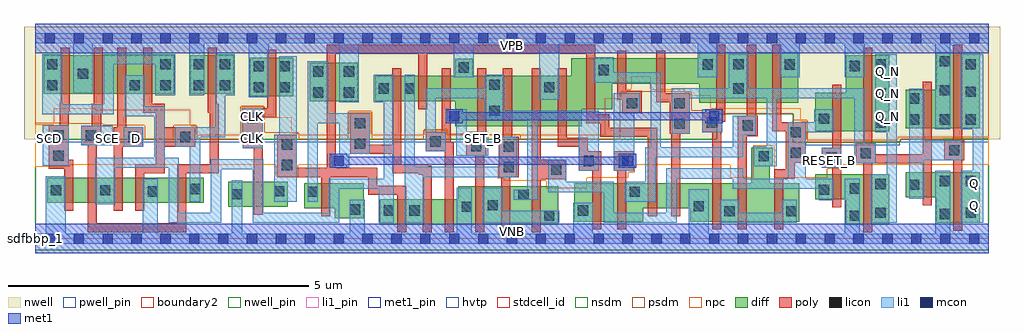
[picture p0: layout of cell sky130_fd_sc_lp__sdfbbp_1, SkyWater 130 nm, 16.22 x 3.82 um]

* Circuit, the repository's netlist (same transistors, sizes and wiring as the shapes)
* Copyright 2020 The SkyWater PDK Authors
*
* Licensed under the Apache License, Version 2.0 (the "License");
* you may not use this file except in compliance with the License.
* You may obtain a copy of the License at
*
*     https://www.apache.org/licenses/LICENSE-2.0
*
* Unless required by applicable law or agreed to in writing, software
* distributed under the License is distributed on an "AS IS" BASIS,
* WITHOUT WARRANTIES OR CONDITIONS OF ANY KIND, either express or implied.
* See the License for the specific language governing permissions and
* limitations under the License.
*
* SPDX-License-Identifier: Apache-2.0

.SUBCKT sky130_fd_sc_lp__sdfbbp_1 CLK D RESET_B SCD SCE SET_B VGND VNB VPB VPWR Q Q_N
*.PININFO CLK:I D:I RESET_B:I SCD:I SCE:I SET_B:I VGND:I VNB:I VPB:I
*.PININFO VPWR:I Q:O Q_N:O
MI98 net105 D n0 VNB sky130_fd_pr__nfet_01v8 m=1 w=0.42U l=0.15U mult=1 sa=0.265
+ sb=0.265 sd=0.28 area=0.525 perim=3.1
MI103 n1 SCD VGND VNB sky130_fd_pr__nfet_01v8 m=1 w=0.42U l=0.15U mult=1 sa=0.265
+ sb=0.265 sd=0.28 area=0.525 perim=3.1
MI104 n0 sceb VGND VNB sky130_fd_pr__nfet_01v8 m=1 w=0.42U l=0.15U mult=1 sa=0.265
+ sb=0.265 sd=0.28 area=0.525 perim=3.1
MI120 net105 SCE n1 VNB sky130_fd_pr__nfet_01v8 m=1 w=0.42U l=0.15U mult=1 sa=0.265
+ sb=0.265 sd=0.28 area=0.525 perim=3.1
MI46 clkpos clkneg VGND VNB sky130_fd_pr__nfet_01v8 m=1 w=0.42U l=0.15U mult=1
+ sa=0.265 sb=0.265 sd=0.28 area=0.063 perim=1.14
MI642 RESET RESET_B VGND VNB sky130_fd_pr__nfet_01v8 m=1 w=0.42U l=0.15U mult=1
+ sa=0.265 sb=0.265 sd=0.28 area=0.063 perim=1.14
MI676 M1 M0 net176 VNB sky130_fd_pr__nfet_01v8 m=1 w=0.64U l=0.15U mult=1 sa=0.265
+ sb=0.265 sd=0.28 area=0.063 perim=1.14
MI675 net176 SET_B VGND VNB sky130_fd_pr__nfet_01v8 m=1 w=0.64U l=0.15U mult=1
+ sa=0.265 sb=0.265 sd=0.28 area=0.063 perim=1.14
MI653 Q net213 VGND VNB sky130_fd_pr__nfet_01v8 m=1 w=0.84U l=0.15U mult=1 sa=0.265
+ sb=0.265 sd=0.28 area=0.063 perim=1.14
MI677 M1 RESET net176 VNB sky130_fd_pr__nfet_01v8 m=1 w=0.64U l=0.15U mult=1 sa=0.265
+ sb=0.265 sd=0.28 area=0.063 perim=1.14
MI648 M0 clkpos net160 VNB sky130_fd_pr__nfet_01v8 m=1 w=0.42U l=0.15U mult=1 sa=0.265
+ sb=0.265 sd=0.28 area=0.063 perim=1.14
MI44 clkneg CLK VGND VNB sky130_fd_pr__nfet_01v8 m=1 w=0.42U l=0.15U mult=1 sa=0.265
+ sb=0.265 sd=0.28 area=0.063 perim=1.14
MI649 net160 M1 VGND VNB sky130_fd_pr__nfet_01v8 m=1 w=0.42U l=0.15U mult=1 sa=0.265
+ sb=0.265 sd=0.28 area=0.063 perim=1.14
MI655 S0 clkneg net145 VNB sky130_fd_pr__nfet_01v8 m=1 w=0.42U l=0.15U mult=1 sa=0.265
+ sb=0.265 sd=0.28 area=0.063 perim=1.14
MI654 net145 net117 VGND VNB sky130_fd_pr__nfet_01v8 m=1 w=0.42U l=0.15U mult=1
+ sa=0.265 sb=0.265 sd=0.28 area=0.063 perim=1.14
MI651 Q_N net117 VGND VNB sky130_fd_pr__nfet_01v8 m=1 w=0.84U l=0.15U mult=1 sa=0.265
+ sb=0.265 sd=0.28 area=0.063 perim=1.14
MI652 net213 net117 VGND VNB sky130_fd_pr__nfet_01v8 m=1 w=0.42U l=0.15U mult=1
+ sa=0.265 sb=0.265 sd=0.28 area=0.063 perim=1.14
MI42 net105 clkneg M0 VNB sky130_fd_pr__nfet_01v8 m=1 w=0.42U l=0.15U mult=1 sa=0.265
+ sb=0.265 sd=0.28 area=0.063 perim=1.14
MI668 S0 clkpos net128 VNB sky130_fd_pr__nfet_01v8 m=1 w=0.64U l=0.15U mult=1 sa=0.265
+ sb=0.265 sd=0.28 area=0.063 perim=1.14
MI667 net128 M1 VGND VNB sky130_fd_pr__nfet_01v8 m=1 w=0.64U l=0.15U mult=1 sa=0.265
+ sb=0.265 sd=0.28 area=0.063 perim=1.14
MI630 net117 RESET net116 VNB sky130_fd_pr__nfet_01v8 m=1 w=0.64U l=0.15U mult=1
+ sa=0.265 sb=0.265 sd=0.28 area=0.063 perim=1.14
MI3 net117 S0 net116 VNB sky130_fd_pr__nfet_01v8 m=1 w=0.64U l=0.15U mult=1 sa=0.265
+ sb=0.265 sd=0.28 area=0.063 perim=1.14
MI7 net116 SET_B VGND VNB sky130_fd_pr__nfet_01v8 m=1 w=0.64U l=0.15U mult=1 sa=0.265
+ sb=0.265 sd=0.28 area=0.063 perim=1.14
MI639 sceb SCE VGND VNB sky130_fd_pr__nfet_01v8 m=1 w=0.42U l=0.15U mult=1 sa=0.265
+ sb=0.265 sd=0.28 area=0.063 perim=1.14
MI107 p0 SCE VPWR VPB sky130_fd_pr__pfet_01v8_hvt m=1 w=0.64U l=0.15U mult=1 sa=0.265
+ sb=0.265 sd=0.28 area=0.063 perim=1.14
MI94 net105 D p0 VPB sky130_fd_pr__pfet_01v8_hvt m=1 w=0.64U l=0.15U mult=1 sa=0.265
+ sb=0.265 sd=0.28 area=0.063 perim=1.14
MI101 net105 sceb p1 VPB sky130_fd_pr__pfet_01v8_hvt m=1 w=0.64U l=0.15U mult=1
+ sa=0.265 sb=0.265 sd=0.28 area=0.063 perim=1.14
MI108 p1 SCD VPWR VPB sky130_fd_pr__pfet_01v8_hvt m=1 w=0.64U l=0.15U mult=1 sa=0.265
+ sb=0.265 sd=0.28 area=0.063 perim=1.14
MI679 M1 SET_B VPWR VPB sky130_fd_pr__pfet_01v8_hvt m=1 w=0.84U l=0.15U mult=1
+ sa=0.265 sb=0.265 sd=0.28 area=0.063 perim=1.14
MI669 S0 clkneg net265 VPB sky130_fd_pr__pfet_01v8_hvt m=1 w=0.84U l=0.15U mult=1
+ sa=0.265 sb=0.265 sd=0.28 area=0.063 perim=1.14
MI660 Q net213 VPWR VPB sky130_fd_pr__pfet_01v8_hvt m=1 w=1.26U l=0.15U mult=1
+ sa=0.265 sb=0.265 sd=0.28 area=0.063 perim=1.14
MI9 net117 S0 net268 VPB sky130_fd_pr__pfet_01v8_hvt m=1 w=0.84U l=0.15U mult=1
+ sa=0.265 sb=0.265 sd=0.28 area=0.063 perim=1.14
MI670 net265 M1 VPWR VPB sky130_fd_pr__pfet_01v8_hvt m=1 w=0.84U l=0.15U mult=1
+ sa=0.265 sb=0.265 sd=0.28 area=0.063 perim=1.14
MI678 net216 RESET VPWR VPB sky130_fd_pr__pfet_01v8_hvt m=1 w=0.84U l=0.15U mult=1
+ sa=0.265 sb=0.265 sd=0.28 area=0.063 perim=1.14
MI662 net257 net117 VPWR VPB sky130_fd_pr__pfet_01v8_hvt m=1 w=0.42U l=0.15U mult=1
+ sa=0.265 sb=0.265 sd=0.28 area=0.063 perim=1.14
MI664 S0 clkpos net257 VPB sky130_fd_pr__pfet_01v8_hvt m=1 w=0.42U l=0.15U mult=1
+ sa=0.265 sb=0.265 sd=0.28 area=0.063 perim=1.14
MI10 net117 SET_B VPWR VPB sky130_fd_pr__pfet_01v8_hvt m=1 w=0.84U l=0.15U mult=1
+ sa=0.265 sb=0.265 sd=0.28 area=0.063 perim=1.14
MI11 net268 RESET VPWR VPB sky130_fd_pr__pfet_01v8_hvt m=1 w=0.84U l=0.15U mult=1
+ sa=0.265 sb=0.265 sd=0.28 area=0.063 perim=1.14
MI650 net241 M1 VPWR VPB sky130_fd_pr__pfet_01v8_hvt m=1 w=0.42U l=0.15U mult=1
+ sa=0.265 sb=0.265 sd=0.28 area=0.063 perim=1.14
MI43 net105 clkpos M0 VPB sky130_fd_pr__pfet_01v8_hvt m=1 w=0.42U l=0.15U mult=1
+ sa=0.265 sb=0.265 sd=0.28 area=0.063 perim=1.14
MI656 M0 clkneg net241 VPB sky130_fd_pr__pfet_01v8_hvt m=1 w=0.42U l=0.15U mult=1
+ sa=0.265 sb=0.265 sd=0.28 area=0.063 perim=1.14
MI643 RESET RESET_B VPWR VPB sky130_fd_pr__pfet_01v8_hvt m=1 w=0.64U l=0.15U mult=1
+ sa=0.265 sb=0.265 sd=0.28 area=0.063 perim=1.14
MI47 clkpos clkneg VPWR VPB sky130_fd_pr__pfet_01v8_hvt m=1 w=0.64U l=0.15U mult=1
+ sa=0.265 sb=0.265 sd=0.28 area=0.063 perim=1.14
MI45 clkneg CLK VPWR VPB sky130_fd_pr__pfet_01v8_hvt m=1 w=0.64U l=0.15U mult=1
+ sa=0.265 sb=0.265 sd=0.28 area=0.063 perim=1.14
MI680 M1 M0 net216 VPB sky130_fd_pr__pfet_01v8_hvt m=1 w=0.84U l=0.15U mult=1 sa=0.265
+ sb=0.265 sd=0.28 area=0.063 perim=1.14
MI663 net213 net117 VPWR VPB sky130_fd_pr__pfet_01v8_hvt m=1 w=0.64U l=0.15U mult=1
+ sa=0.265 sb=0.265 sd=0.28 area=0.063 perim=1.14
MI661 Q_N net117 VPWR VPB sky130_fd_pr__pfet_01v8_hvt m=1 w=1.26U l=0.15U mult=1
+ sa=0.265 sb=0.265 sd=0.28 area=0.063 perim=1.14
MI640 sceb SCE VPWR VPB sky130_fd_pr__pfet_01v8_hvt m=1 w=0.64U l=0.15U mult=1
+ sa=0.265 sb=0.265 sd=0.28 area=0.063 perim=1.14
.ENDS sky130_fd_sc_lp__sdfbbp_1

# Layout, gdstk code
import gdstk
lib = gdstk.Library(unit=1e-6, precision=1e-09)
def R(c, l, rs):  # rectangles x0, y0, x1, y1
    for r in rs: c.add(gdstk.rectangle(r[:2], r[2:], *l))
def A(c, l, x, y, w, h, nx, ny, dx, dy):  # array of equal rectangles
    R(c, l, [(x+i*dx, y+j*dy, x+i*dx+w, y+j*dy+h) for i in range(nx) for j in range(ny)])
def P(c, l, *ps):  # polygons
    for p in ps: c.add(gdstk.Polygon(p, *l))
nwell_pin = (64, 16)
nwell = (64, 20)
diff = (65, 20)
poly = (66, 20)
licon = (66, 44)
li1_pin = (67, 16)
li1 = (67, 20)
mcon = (67, 44)
met1_pin = (68, 16)
met1 = (68, 20)
hvtp = (78, 44)
stdcell_id = (81, 4)
nsdm = (93, 44)
psdm = (94, 20)
npc = (95, 20)
pwell_pin = (122, 16)
boundary2 = (236, 0)

sky130_fd_sc_lp__sdfbbp_ = lib.new_cell('sky130_fd_sc_lp__sdfbbp_1')
R(sky130_fd_sc_lp__sdfbbp_, nwell_pin, [(0,3.085,15.84,3.33)])
P(sky130_fd_sc_lp__sdfbbp_, nwell, [(16.03,3.52),(-0.19,3.52),(-0.19,1.655),(11.32,1.655),(11.32,2.075),(12.59,2.075),(12.59,1.605),(14.37,1.605),(14.37,1.655),(16.03,1.655)])
R(sky130_fd_sc_lp__sdfbbp_, diff, [(3.205,0.53,4.195,0.95), (0.195,0.595,2.795,1.015), (4.555,2.285,5.355,2.925), (3.565,2.37,4.285,3.01), (0.135,2.405,2.305,3.045), (2.575,2.405,3.295,3.045)])
P(sky130_fd_sc_lp__sdfbbp_, diff, [(5.455,0.925),(4.465,0.925),(4.465,0.505),(4.975,0.505),(4.975,0.34),(5.455,0.34)],
  [(8.685,0.875),(7.025,0.875),(7.025,0.655),(5.725,0.655),(5.725,0.235),(8.685,0.235)],
  [(15.69,1.105),(14.46,1.105),(14.46,0.685),(14.97,0.685),(14.97,0.265),(15.69,0.265)],
  [(12.68,3.095),(11.03,3.095),(11.03,2.995),(8.905,2.995),(8.905,2.705),(7.265,2.705),(7.265,2.99),(6.975,2.99),(6.975,2.705),(5.645,2.705),(5.645,2.285),(6.975,2.285),(6.975,1.865),(9.08,1.865),(9.08,2.155),(9.59,2.155),(9.59,2.575),(11.03,2.575),(11.03,2.255),(12.68,2.255)],
  [(12.69,0.925),(12.2,0.925),(12.2,1.225),(12.25,1.225),(12.25,1.515),(11.9,1.515),(11.9,0.925),(8.955,0.925),(8.955,0.285),(10.105,0.285),(10.105,0.505),(10.88,0.505),(10.88,0.285),(12.69,0.285)],
  [(14.19,3.045),(13.47,3.045),(13.47,2.425),(12.96,2.425),(12.96,1.785),(14.19,1.785)],
  [(14.19,1.075),(12.96,1.075),(12.96,0.655),(13.47,0.655),(13.47,0.235),(14.19,0.235)],
  [(15.69,3.095),(14.97,3.095),(14.97,2.475),(14.46,2.475),(14.46,1.835),(15.69,1.835)])
P(sky130_fd_sc_lp__sdfbbp_, poly, [(0.63,1.31),(0.55,1.31),(0.55,2.12),(0.57,2.12),(0.57,3.175),(0.42,3.175),(0.42,2.27),(0.4,2.27),(0.4,1.885),(0.22,1.885),(0.22,1.16),(0.48,1.16),(0.48,0.465),(0.63,0.465)],
  [(1.79,1.855),(1.51,1.855),(1.51,3.175),(1.36,3.175),(1.36,1.855),(1.3,1.855),(1.3,0.465),(1.45,0.465),(1.45,1.525),(1.79,1.525)],
  [(2.655,1.855),(2.15,1.855),(2.15,2.245),(1.94,2.245),(1.94,3.175),(1.79,3.175),(1.79,2.095),(2,2.095),(2,1.24),(1.66,1.24),(1.66,0.465),(1.81,0.465),(1.81,1.09),(2.15,1.09),(2.15,1.525),(2.655,1.525)],
  [(3.045,2.245),(3.01,2.245),(3.01,3.175),(2.86,3.175),(2.86,2.095),(2.895,2.095),(2.895,1.24),(2.36,1.24),(2.36,0.255),(1.02,0.255),(1.02,1.55),(1.09,1.55),(1.09,2.095),(1.12,2.095),(1.12,3.175),(0.97,3.175),(0.97,2.245),(0.94,2.245),(0.94,1.88),(0.76,1.88),(0.76,1.55),(0.87,1.55),(0.87,0.105),(2.51,0.105),(2.51,1.09),(3.045,1.09)],
  [(4,3.14),(3.85,3.14),(3.85,2.17),(3.445,2.17),(3.445,1.5),(3.625,1.5),(3.625,0.4),(3.775,0.4),(3.775,2.02),(4,2.02)],
  [(6.59,1.21),(6.52,1.21),(6.52,1.24),(6.08,1.24),(6.08,2.835),(5.93,2.835),(5.93,1.565),(5.56,1.565),(5.56,2.085),(5.23,2.085),(5.23,1.415),(5.93,1.415),(5.93,1.09),(6.37,1.09),(6.37,1.06),(6.44,1.06),(6.44,0.105),(6.59,0.105)],
  [(6.95,1.6),(6.9,1.6),(6.9,2.835),(6.75,2.835),(6.75,1.78),(6.485,1.78),(6.485,1.45),(6.8,1.45),(6.8,0.105),(6.95,0.105)],
  [(7.49,2.835),(7.34,2.835),(7.34,1.705),(7.16,1.705),(7.16,1.375),(7.31,1.375),(7.31,0.105),(7.46,0.105),(7.46,1.375),(7.49,1.375)],
  [(8.03,1.695),(7.92,1.695),(7.92,2.835),(7.77,2.835),(7.77,1.695),(7.7,1.695),(7.7,1.025),(7.74,1.025),(7.74,0.105),(7.89,0.105),(7.89,1.025),(8.03,1.025)],
  [(8.82,1.315),(8.4,1.315),(8.4,2.835),(8.25,2.835),(8.25,0.105),(8.4,0.105),(8.4,0.985),(8.82,0.985)],
  [(9.4,1.455),(9.18,1.455),(9.18,1.675),(8.83,1.675),(8.83,2.835),(8.68,2.835),(8.68,1.525),(9.03,1.525),(9.03,1.125),(9.25,1.125),(9.25,0.155),(9.4,0.155)],
  [(9.94,1.455),(9.61,1.455),(9.61,1.125),(9.67,1.125),(9.67,0.155),(9.82,0.155),(9.82,1.125),(9.94,1.125)],
  [(10.08,2.455),(9.815,2.455),(9.815,3.125),(9.665,3.125),(9.665,2.305),(9.75,2.305),(9.75,2.085),(10.08,2.085)],
  [(10.33,1.845),(9.54,1.845),(9.54,2.065),(9.305,2.065),(9.305,3.225),(4.84,3.225),(4.84,1.175),(4.345,1.175),(4.345,1.73),(4.015,1.73),(4.015,1.025),(4.75,1.025),(4.75,0.375),(4.9,0.375),(4.9,1.025),(5.53,1.025),(5.53,0.73),(6.01,0.73),(6.01,0.105),(6.16,0.105),(6.16,0.88),(5.68,0.88),(5.68,1.175),(4.99,1.175),(4.99,3.075),(6.36,3.075),(6.36,2.155),(6.51,2.155),(6.51,3.075),(9.155,3.075),(9.155,1.915),(9.39,1.915),(9.39,1.695),(10.18,1.695),(10.18,0.375),(10.33,0.375)],
  [(10.87,2.415),(10.47,2.415),(10.47,3.125),(10.32,3.125),(10.32,2.265),(10.54,2.265),(10.54,1.745),(10.57,1.745),(10.57,0.375),(10.72,0.375),(10.72,1.745),(10.87,1.745)],
  [(11.465,3.225),(11.315,3.225),(11.315,2.095),(11.08,2.095),(11.08,1.765),(11.245,1.765),(11.245,0.155),(11.395,0.155),(11.395,1.765),(11.41,1.765),(11.41,1.945),(11.465,1.945)],
  [(12.005,2.045),(11.975,2.045),(11.975,3.225),(11.825,3.225),(11.825,2.045),(11.675,2.045),(11.675,0.155),(11.825,0.155),(11.825,1.705),(12.005,1.705)],
  [(12.8,1.935),(12.395,1.935),(12.395,3.225),(12.245,3.225),(12.245,1.785),(12.47,1.785),(12.47,1.15),(12.275,1.15),(12.275,0.155),(12.425,0.155),(12.425,1),(12.62,1),(12.62,1.265),(12.8,1.265)],
  [(13.395,2.555),(13.245,2.555),(13.245,1.515),(13.065,1.515),(13.065,1.185),(13.245,1.185),(13.245,0.525),(13.395,0.525)],
  [(14.895,2.605),(14.745,2.605),(14.745,1.405),(13.965,1.405),(13.965,1.585),(13.905,1.585),(13.905,3.175),(13.755,3.175),(13.755,1.585),(13.635,1.585),(13.635,1.255),(13.755,1.255),(13.755,0.105),(13.905,0.105),(13.905,1.255),(14.745,1.255),(14.745,0.555),(14.895,0.555)],
  [(15.435,1.635),(15.405,1.635),(15.405,3.225),(15.255,3.225),(15.255,1.635),(15.105,1.635),(15.105,1.305),(15.255,1.305),(15.255,0.135),(15.405,0.135),(15.405,1.305),(15.435,1.305)])
A(sky130_fd_sc_lp__sdfbbp_, licon, 13.96, 1.845, 0.17, 0.17, 1, 3, 0, 0.485)
A(sky130_fd_sc_lp__sdfbbp_, licon, 15.03, 1.895, 0.17, 0.17, 1, 3, 0, 0.485)
A(sky130_fd_sc_lp__sdfbbp_, licon, 15.46, 1.895, 0.17, 0.17, 1, 3, 0, 0.46)
R(sky130_fd_sc_lp__sdfbbp_, licon, [(8.455,0.295,8.625,0.465), (13.53,0.295,13.7,0.465), (15.03,0.325,15.2,0.495), (13.96,0.345,14.13,0.515), (15.46,0.345,15.63,0.515), (11.45,0.37,11.62,0.54), (12.48,0.37,12.65,0.54), (5.785,0.385,5.955,0.555), (6.215,0.385,6.385,0.555), (9.015,0.385,9.185,0.555), (5.225,0.4,5.395,0.57), (7.085,0.445,7.255,0.615), (10.94,0.455,11.11,0.625), (7.515,0.47,7.685,0.64), (8.025,0.645,8.195,0.815), (3.265,0.655,3.435,0.825), (4.525,0.695,4.695,0.865), (9.875,0.695,10.045,0.865), (1.865,0.7,2.035,0.87), (3.965,0.705,4.135,0.875), (0.255,0.72,0.425,0.89), (1.075,0.72,1.245,0.89), (13.02,0.73,13.19,0.9), (2.565,0.74,2.735,0.91), (13.53,0.75,13.7,0.92), (14.52,0.81,14.69,0.98), (13.96,0.825,14.13,0.995), (15.03,0.875,15.2,1.045), (15.46,0.875,15.63,1.045), (8.57,1.065,8.74,1.235), (7.78,1.105,7.95,1.275), (4.095,1.14,4.265,1.31), (9.11,1.205,9.28,1.375), (9.69,1.205,9.86,1.375), (13.145,1.265,13.315,1.435), (12.02,1.285,12.19,1.455), (0.3,1.295,0.47,1.465), (13.715,1.335,13.885,1.505), (12.55,1.345,12.72,1.515), (15.185,1.385,15.355,1.555), (7.78,1.445,7.95,1.615), (7.24,1.455,7.41,1.625), (4.095,1.48,4.265,1.65), (5.31,1.495,5.48,1.665), (6.565,1.53,6.735,1.7), (3.525,1.58,3.695,1.75), (1.54,1.605,1.71,1.775), (2.405,1.605,2.575,1.775), (0.84,1.63,1.01,1.8), (0.3,1.635,0.47,1.805), (12.55,1.685,12.72,1.855), (11.755,1.795,11.925,1.965), (10.62,1.825,10.79,1.995), (5.31,1.835,5.48,2.005), (11.16,1.845,11.33,2.015), (14.52,1.895,14.69,2.065), (13.02,1.91,13.19,2.08), (3.525,1.92,3.695,2.09), (7.545,2.04,7.715,2.21), (9.83,2.165,10,2.335), (10.62,2.165,10.79,2.335), (14.52,2.245,14.69,2.415), (4.615,2.345,4.785,2.515), (5.125,2.345,5.295,2.515), (5.705,2.41,5.875,2.58), (6.135,2.41,6.305,2.58), (11.6,2.41,11.77,2.58), (3.625,2.43,3.795,2.6), (4.055,2.43,4.225,2.6), (8.455,2.43,8.625,2.6), (0.195,2.465,0.365,2.635), (1.565,2.465,1.735,2.635), (2.075,2.465,2.245,2.635), (2.635,2.465,2.805,2.635), (3.065,2.465,3.235,2.635), (7.545,2.475,7.715,2.645), (0.705,2.655,0.875,2.825), (4.615,2.695,4.785,2.865), (5.125,2.695,5.295,2.865), (9.36,2.72,9.53,2.89), (7.035,2.76,7.205,2.93), (3.625,2.78,3.795,2.95), (4.055,2.78,4.225,2.95), (13.53,2.785,13.7,2.955), (11.09,2.81,11.26,2.98), (12.45,2.81,12.62,2.98), (0.195,2.815,0.365,2.985), (2.075,2.815,2.245,2.985), (2.635,2.815,2.805,2.985), (3.065,2.815,3.235,2.985), (11.6,2.815,11.77,2.985)])
A(sky130_fd_sc_lp__sdfbbp_, li1_pin, 14.075, 1.95, 0.17, 0.17, 1, 3, 0, 0.37)
R(sky130_fd_sc_lp__sdfbbp_, li1_pin, [(15.515,0.47,15.685,0.64), (15.515,0.84,15.685,1.01), (13.115,1.21,13.285,1.38), (0.155,1.58,0.325,1.75), (1.115,1.58,1.285,1.75), (1.595,1.58,1.765,1.75), (3.515,1.58,3.685,1.75), (7.355,1.58,7.525,1.75), (3.515,1.95,3.685,2.12)])
R(sky130_fd_sc_lp__sdfbbp_, li1, [(13.065,1.18,13.395,1.515), (0.125,1.215,0.55,1.885), (3.445,1.5,3.775,2.17), (1.465,1.525,1.795,1.855), (0.76,1.55,1.285,1.88), (11.08,1.765,11.41,2.15)])
P(sky130_fd_sc_lp__sdfbbp_, li1, [(2.325,3.065),(1.135,3.065),(1.135,2.235),(0.445,2.235),(0.445,3.065),(0.115,3.065),(0.115,2.065),(1.305,2.065),(1.305,2.895),(1.995,2.895),(1.995,2.385),(2.325,2.385)],
  [(3.315,3.065),(2.985,3.065),(2.985,1.855),(2.325,1.855),(2.325,1.525),(2.565,1.525),(2.565,0.615),(2.735,0.615),(2.735,1.685),(3.155,1.685),(3.155,2.385),(3.315,2.385)],
  [(4.345,3.03),(4.055,3.03),(4.055,1.73),(3.965,1.73),(3.965,0.615),(4.345,0.615)],
  [(5.56,2.085),(4.865,2.085),(4.865,2.945),(4.525,2.945),(4.525,0.615),(4.695,0.615),(4.695,1.915),(5.045,1.915),(5.045,1.41),(4.925,1.41),(4.925,1.18),(5.215,1.18),(5.215,1.415),(5.56,1.415)],
  [(5.955,2.725),(5.625,2.725),(5.625,2.265),(5.785,2.265),(5.785,1),(4.875,1),(4.875,0.435),(3.785,0.435),(3.785,1.32),(2.915,1.32),(2.915,0.435),(2.385,0.435),(2.385,1.345),(2.145,1.345),(2.145,2.205),(1.815,2.205),(1.815,2.715),(1.485,2.715),(1.485,2.035),(1.975,2.035),(1.975,1.345),(0.995,1.345),(0.995,0.575),(1.325,0.575),(1.325,1.175),(2.215,1.175),(2.215,0.265),(3.085,0.265),(3.085,1.15),(3.615,1.15),(3.615,0.265),(5.045,0.265),(5.045,0.83),(5.705,0.83),(5.705,0.265),(5.955,0.265)],
  [(7.525,1.78),(7.165,1.78),(7.165,2.15),(6.845,2.15),(6.845,1.95),(6.995,1.95),(6.995,1.375),(7.525,1.375)],
  [(7.995,1.695),(7.705,1.695),(7.705,1.195),(6.305,1.195),(6.305,2.725),(6.135,2.725),(6.135,0.265),(6.465,0.265),(6.465,1.025),(7.995,1.025)],
  [(8.705,0.465),(7.765,0.465),(7.765,0.845),(7.435,0.845),(7.435,0.265),(8.705,0.265)],
  [(9.36,2.13),(7.795,2.13),(7.795,2.725),(7.465,2.725),(7.465,2.5),(6.485,2.5),(6.485,1.45),(6.815,1.45),(6.815,1.77),(6.655,1.77),(6.655,2.33),(7.465,2.33),(7.465,1.96),(8.175,1.96),(8.175,0.815),(7.945,0.815),(7.945,0.645),(8.345,0.645),(8.345,1.96),(9.03,1.96),(9.03,1.125),(9.36,1.125)],
  [(10.045,2.415),(9.61,2.415),(9.61,1.125),(9.955,1.125),(9.955,2.085),(10.045,2.085)],
  [(11.97,2.045),(11.59,2.045),(11.59,1.52),(10.395,1.52),(10.395,2.765),(9.61,2.765),(9.61,3.015),(9.28,3.015),(9.28,2.595),(10.225,2.595),(10.225,1.52),(10.135,1.52),(10.135,0.945),(9.795,0.945),(9.795,0.615),(10.305,0.615),(10.305,1.35),(11.76,1.35),(11.76,1.715),(11.97,1.715)],
  [(12.65,0.65),(12.4,0.65),(12.4,0.435),(11.7,0.435),(11.7,0.65),(11.37,0.65),(11.37,0.265),(12.65,0.265)],
  [(13.27,1),(12.8,1),(12.8,1.765),(13.27,1.765),(13.27,2.15),(12.94,2.15),(12.94,1.935),(12.5,1.935),(12.5,1),(11.76,1),(11.76,1.17),(10.485,1.17),(10.485,0.435),(9.615,0.435),(9.615,0.945),(8.82,0.945),(8.82,1.315),(8.525,1.315),(8.525,0.775),(9.445,0.775),(9.445,0.265),(10.655,0.265),(10.655,1),(11.59,1),(11.59,0.83),(13.02,0.83),(13.02,0.635),(13.27,0.635)],
  [(13.965,1.585),(13.78,1.585),(13.78,2.5),(11.85,2.5),(11.85,3.065),(11.52,3.065),(11.52,2.5),(10.575,2.5),(10.575,1.745),(10.87,1.745),(10.87,2.33),(12.15,2.33),(12.15,1.535),(11.94,1.535),(11.94,1.205),(12.32,1.205),(12.32,2.33),(13.61,2.33),(13.61,1.255),(13.965,1.255)],
  [(14.315,3.065),(13.96,3.065),(13.96,1.765),(14.145,1.765),(14.145,1.075),(13.88,1.075),(13.88,0.265),(14.315,0.265)],
  [(15.4,1.635),(14.77,1.635),(14.77,2.495),(14.52,2.495),(14.52,0.665),(14.77,0.665),(14.77,1.305),(15.4,1.305)],
  [(15.75,3.065),(15.38,3.065),(15.38,1.815),(15.58,1.815),(15.58,1.125),(15.38,1.125),(15.38,0.265),(15.75,0.265)],
  [(15.84,3.415),(0,3.415),(0,3.245),(0.625,3.245),(0.625,2.415),(0.955,2.415),(0.955,3.245),(2.555,3.245),(2.555,2.385),(2.805,2.385),(2.805,3.245),(3.545,3.245),(3.545,2.35),(3.875,2.35),(3.875,3.245),(5.045,3.245),(5.045,2.265),(5.375,2.265),(5.375,3.245),(6.955,3.245),(6.955,2.68),(7.285,2.68),(7.285,3.245),(8.375,3.245),(8.375,2.31),(8.705,2.31),(8.705,3.245),(11.01,3.245),(11.01,2.68),(11.34,2.68),(11.34,3.245),(12.37,3.245),(12.37,2.68),(12.7,2.68),(12.7,3.245),(13.45,3.245),(13.45,2.68),(13.78,2.68),(13.78,3.245),(14.95,3.245),(14.95,1.815),(15.2,1.815),(15.2,3.245),(15.84,3.245)],
  [(15.84,0.085),(15.2,0.085),(15.2,1.125),(14.95,1.125),(14.95,0.085),(13.7,0.085),(13.7,1),(13.45,1),(13.45,0.085),(11.19,0.085),(11.19,0.82),(10.86,0.82),(10.86,0.085),(9.265,0.085),(9.265,0.595),(8.935,0.595),(8.935,0.085),(7.255,0.085),(7.255,0.845),(7.005,0.845),(7.005,0.085),(5.475,0.085),(5.475,0.65),(5.225,0.65),(5.225,0.085),(3.435,0.085),(3.435,0.97),(3.265,0.97),(3.265,0.085),(2.035,0.085),(2.035,0.995),(1.785,0.995),(1.785,0.085),(0.505,0.085),(0.505,1.035),(0.175,1.035),(0.175,0.085),(0,0.085),(0,-0.085),(15.84,-0.085)])
A(sky130_fd_sc_lp__sdfbbp_, mcon, 0.155, -0.085, 0.17, 0.17, 33, 2, 0.48, 3.33)
R(sky130_fd_sc_lp__sdfbbp_, mcon, [(4.955,1.21,5.125,1.38), (9.755,1.21,9.925,1.38), (6.875,1.95,7.045,2.12), (11.195,1.95,11.365,2.12)])
R(sky130_fd_sc_lp__sdfbbp_, met1_pin, [(0,0,15.84,0.245), (0,3.085,15.84,3.33)])
R(sky130_fd_sc_lp__sdfbbp_, met1, [(0,-0.245,15.84,0.245), (0,3.085,15.84,3.575)])
P(sky130_fd_sc_lp__sdfbbp_, met1, [(9.985,1.41),(9.695,1.41),(9.695,1.365),(5.185,1.365),(5.185,1.41),(4.895,1.41),(4.895,1.18),(5.185,1.18),(5.185,1.225),(9.695,1.225),(9.695,1.18),(9.985,1.18)],
  [(11.425,2.15),(11.135,2.15),(11.135,2.105),(7.105,2.105),(7.105,2.15),(6.815,2.15),(6.815,1.92),(7.105,1.92),(7.105,1.965),(11.135,1.965),(11.135,1.92),(11.425,1.92)])
P(sky130_fd_sc_lp__sdfbbp_, hvtp, [(15.84,3.33),(0,3.33),(0,1.6),(12.805,1.6),(12.805,1.55),(14.36,1.55),(14.36,1.6),(15.84,1.6)])
R(sky130_fd_sc_lp__sdfbbp_, stdcell_id, [(0,0,15.84,3.33)])
P(sky130_fd_sc_lp__sdfbbp_, nsdm, [(15.84,1.655),(14.37,1.655),(14.37,1.605),(12.59,1.605),(12.59,2.075),(11.32,2.075),(11.32,1.655),(0,1.655),(0,-0.19),(15.84,-0.19)])
P(sky130_fd_sc_lp__sdfbbp_, psdm, [(15.84,3.52),(0,3.52),(0,1.915),(0.58,1.915),(0.58,1.91),(1.12,1.91),(1.12,1.885),(1.82,1.885),(1.82,1.655),(2.295,1.655),(2.295,1.885),(2.685,1.885),(2.685,1.655),(3.415,1.655),(3.415,2.2),(3.805,2.2),(3.805,1.76),(4.375,1.76),(4.375,1.655),(5.2,1.655),(5.2,2.115),(5.59,2.115),(5.59,1.655),(6.455,1.655),(6.455,1.81),(6.845,1.81),(6.845,1.735),(7.52,1.735),(7.52,1.725),(8.06,1.725),(8.06,1.655),(9.72,1.655),(9.72,2.445),(10.9,2.445),(10.9,2.125),(11.44,2.125),(11.44,2.075),(12.59,2.075),(12.59,1.965),(12.83,1.965),(12.83,1.605),(13.605,1.605),(13.605,1.615),(14.37,1.615),(14.37,1.655),(15.075,1.655),(15.075,1.665),(15.84,1.665)])
P(sky130_fd_sc_lp__sdfbbp_, npc, [(15.84,1.695),(14.33,1.695),(14.33,1.645),(12.82,1.645),(12.82,1.955),(12.715,1.955),(12.715,2.165),(11.225,2.165),(11.225,2.38),(10.89,2.38),(10.89,2.435),(10.785,2.435),(10.785,2.485),(10.23,2.485),(10.23,2.7),(9.905,2.7),(9.905,2.485),(9.835,2.485),(9.835,2.435),(9.73,2.435),(9.73,2.33),(9.465,2.33),(9.465,1.73),(9.22,1.73),(9.22,1.725),(6.835,1.725),(6.835,1.8),(6.465,1.8),(6.465,1.73),(5.58,1.73),(5.58,2.105),(5.21,2.105),(5.21,1.73),(4.365,1.73),(4.365,1.75),(4.26,1.75),(4.26,2.015),(3.795,2.015),(3.795,2.19),(3.425,2.19),(3.425,1.73),(2.675,1.73),(2.675,1.875),(2.57,1.875),(2.57,2.14),(1.005,2.14),(1.005,2.165),(0.305,2.165),(0.305,1.905),(0,1.905),(0,1.195),(0.57,1.195),(0.57,1.23),(3.995,1.23),(3.995,1.04),(4.365,1.04),(4.365,1.23),(7.68,1.23),(7.68,1.005),(7.785,1.005),(7.785,0.965),(8.49,0.965),(8.49,0.84),(9.16,0.84),(9.16,1.015),(9.855,1.015),(9.855,1.105),(9.96,1.105),(9.96,1.23),(11.545,1.23),(11.545,1.015),(11.93,1.015),(11.93,1.545),(12.28,1.545),(12.28,1.015),(13.155,1.015),(13.155,1.165),(13.415,1.165),(13.415,1.23),(15.84,1.23)])
R(sky130_fd_sc_lp__sdfbbp_, pwell_pin, [(0,0,15.84,0.245)])
R(sky130_fd_sc_lp__sdfbbp_, boundary2, [(0,0,15.84,3.33)])
sky130_fd_sc_lp__sdfbbp_.add(gdstk.Label('VNB', (7.92,0.123), layer=64, texttype=59))
sky130_fd_sc_lp__sdfbbp_.add(gdstk.Label('VPB', (7.92,3.208), layer=64, texttype=5))
sky130_fd_sc_lp__sdfbbp_.add(gdstk.Label('sdfbbp_1', (0,0), layer=83, texttype=44))
sky130_fd_sc_lp__sdfbbp_.add(gdstk.Label('VPWR', (7.92,3.208), layer=68, texttype=5))
sky130_fd_sc_lp__sdfbbp_.add(gdstk.Label('VGND', (7.92,0.123), layer=68, texttype=5))
sky130_fd_sc_lp__sdfbbp_.add(gdstk.Label('Q', (15.6,0.555), layer=67, texttype=5))
sky130_fd_sc_lp__sdfbbp_.add(gdstk.Label('Q', (15.6,0.925), layer=67, texttype=5))
sky130_fd_sc_lp__sdfbbp_.add(gdstk.Label('CLK', (3.6,1.665), layer=67, texttype=5))
sky130_fd_sc_lp__sdfbbp_.add(gdstk.Label('CLK', (3.6,2.035), layer=67, texttype=5))
sky130_fd_sc_lp__sdfbbp_.add(gdstk.Label('Q_N', (14.16,2.035), layer=67, texttype=5))
sky130_fd_sc_lp__sdfbbp_.add(gdstk.Label('Q_N', (14.16,2.405), layer=67, texttype=5))
sky130_fd_sc_lp__sdfbbp_.add(gdstk.Label('Q_N', (14.16,2.775), layer=67, texttype=5))
sky130_fd_sc_lp__sdfbbp_.add(gdstk.Label('RESET_B', (13.2,1.295), layer=67, texttype=5))
sky130_fd_sc_lp__sdfbbp_.add(gdstk.Label('SET_B', (7.44,1.665), layer=67, texttype=5))
sky130_fd_sc_lp__sdfbbp_.add(gdstk.Label('D', (1.68,1.665), layer=67, texttype=5))
sky130_fd_sc_lp__sdfbbp_.add(gdstk.Label('SCE', (1.2,1.665), layer=67, texttype=5))
sky130_fd_sc_lp__sdfbbp_.add(gdstk.Label('SCD', (0.24,1.665), layer=67, texttype=5))

lib.write_gds('sky130_fd_sc_lp__sdfbbp_1.gds')
